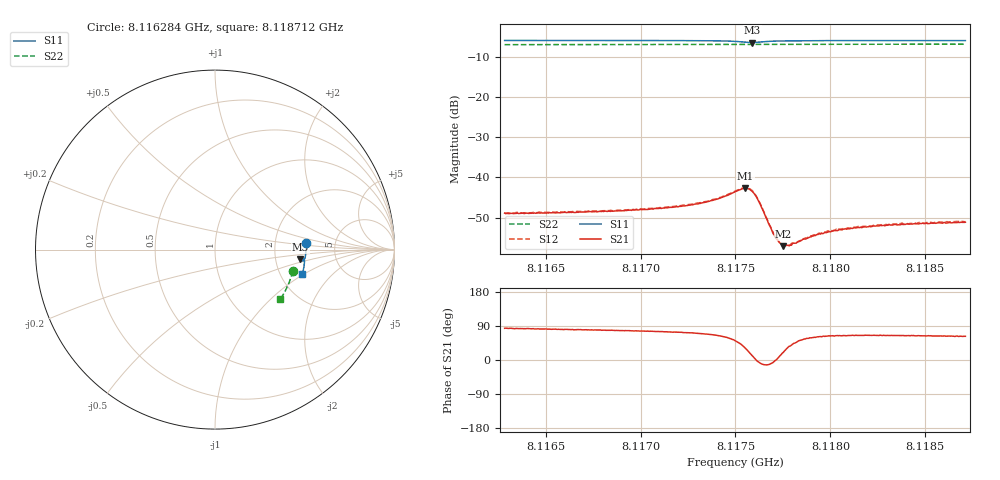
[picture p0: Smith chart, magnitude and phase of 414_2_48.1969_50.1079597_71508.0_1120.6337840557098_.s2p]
#  HZ  S  RI  R  50.00
! Rohde & Schwarz Vector Network Analyzer
! Rohde-Schwarz,ZNB20-2Port,1311601062101988,3.16
! Created: UTC 3/20/2024, 11:54:39 AM
! freq[Hz]  re:S11  im:S11  re:S21  im:S21  re:S12  im:S12  re:S22  im:S22
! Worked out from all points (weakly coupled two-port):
!   401 points, 8.116284 GHz to 8.118712 GHz, reference 50 ohm
!   highest |S21| = -42.73 dB at 8.117552 GHz (marker M1); lowest = -57.1 dB at 8.117753 GHz (marker M2)
!   lowest |S11| = -6.4 dB at 8.117589 GHz (marker M3), VSWR 2.83, Z = 139 - j19.1 ohm
!   |S11| at or under -10 dB: nowhere
!   |S22| runs from -6.9 to -6.8 dB; largest |S21 - S12| = 0.0002
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8.1162839e9  0.5056 0.0372  0.000396 0.00358  0.000436 0.0036  0.4331 -0.1205
8.1166906e9  0.5064 0.00628  0.000656 0.00365  0.000731 0.00369  0.4257 -0.1476
8.116903e9  0.506 -0.00994  0.000819 0.00376  0.000837 0.00381  0.4213 -0.1617
8.1170972e9  0.5049 -0.0255  0.00106 0.00398  0.00114 0.00404  0.4166 -0.1745
8.1172368e9  0.5033 -0.0371  0.00136 0.00423  0.00141 0.0043  0.4132 -0.1837
8.117346e9  0.5011 -0.0472  0.00182 0.0046  0.00188 0.00466  0.4101 -0.1907
8.1174189e9  0.498 -0.0546  0.00244 0.00495  0.00256 0.00503  0.4079 -0.1955
8.1174978e9  0.4901 -0.0625  0.00416 0.00517  0.00425 0.00524  0.4054 -0.2005
8.1175524e9  0.4791 -0.0618  0.00624 0.00379  0.00639 0.00382  0.4035 -0.2037
8.1175706e9  0.4762 -0.0582  0.00668 0.00264  0.00683 0.00264  0.4029 -0.2046
8.1175888e9  0.4753 -0.0532  0.00657 0.00129  0.00673 0.00126  0.4025 -0.2054
8.117607e9  0.4778 -0.0486  0.00589 0.000108  0.00598 9.61e-05  0.4022 -0.2064
8.1176252e9  0.4817 -0.0462  0.00487 -0.000565  0.00496 -0.000596  0.4017 -0.2074
8.1177041e9  0.495 -0.052  0.00193 -0.000125  0.00194 -0.000184  0.3999 -0.2126
8.1177284e9  0.4967 -0.0551  0.00156 0.000203  0.0016 0.000231  0.3992 -0.2143
8.1177527e9  0.4976 -0.058  0.00131 0.000483  0.00136 0.000488  0.3985 -0.2157
8.117783e9  0.4984 -0.0615  0.00114 0.000829  0.00119 0.000818  0.3976 -0.2177
8.1179044e9  0.4986 -0.0737  0.000963 0.0016  0.000988 0.00159  0.3939 -0.2255
8.1179954e9  0.4978 -0.0818  0.000937 0.00189  0.00101 0.00187  0.3909 -0.2312
8.1180622e9  0.497 -0.0873  0.000977 0.002  0.00102 0.00206  0.3886 -0.2355
8.118311e9  0.4936 -0.1068  0.00111 0.00233  0.00113 0.00235  0.3799 -0.2504
8.1187116e9  0.4858 -0.1362  0.00128 0.00246  0.00134 0.00247  0.3646 -0.2741
